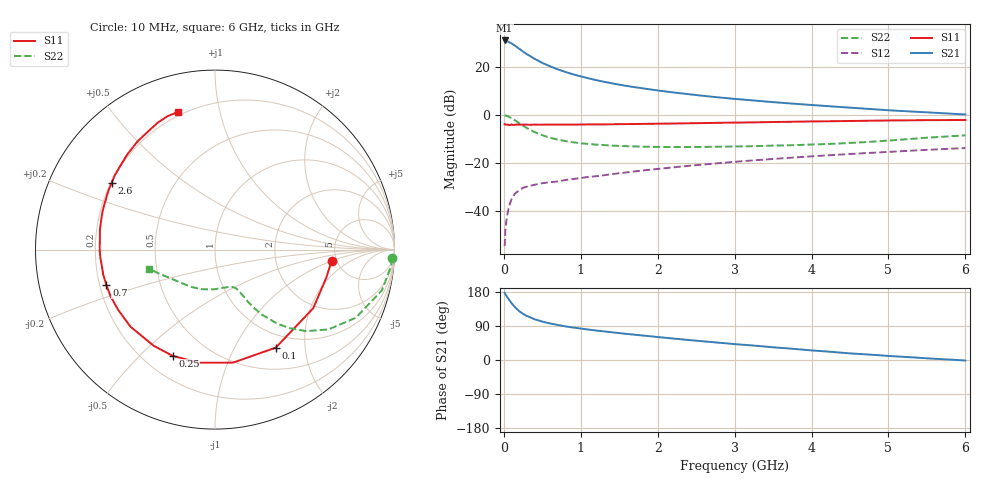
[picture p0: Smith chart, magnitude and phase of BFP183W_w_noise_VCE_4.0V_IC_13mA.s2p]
! Infineon Technologies  Discrete & RF Semiconductors
! BFP183W
! VCE =  4.0 V,  IC =  13 mA
! Common Emitter S-Parameters:  Jan 2017
# GHz  S  MA  R  50
!  f  S11  S21  S12  S22
! GHz  MAG  ANG  MAG  ANG  MAG  ANG  MAG  ANG
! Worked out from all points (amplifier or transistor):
!   77 points, 10 MHz to 6 GHz, reference 50 ohm
!   highest |S21| = 31.0 dB at 10 MHz (marker M1)
!   |S21| within 3 dB of that: start of sweep to 180.2 MHz
!   unconditionally stable (mu >= 1): 1.451 GHz to 3.83 GHz
!   at 130 MHz: K = 0.17, MSG = 31.3 dB, |S12| = -33.4 dB
!   at 2.2 GHz: K = 1.07, MAG = 14.0 dB, |S12| = -21.7 dB
!   at 6 GHz: K = 0.87, MSG = 7.0 dB, |S12| = -13.7 dB
!   lowest NFmin = 1.01 dB at 450 MHz
!   S11 on the Smith chart (normalised r, x): 10 MHz: 4.52, -1.00; 100 MHz: 0.80, -1.48; 250 MHz: 0.32, -0.63; 700 MHz: 0.23, -0.15; 2.6 GHz: 0.20, +0.28; 6 GHz: 0.18, +0.75
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0.01  0.6526 -5.6  35.66 177.5  0.0019 92.4  0.9899 -2.8
0.02  0.6396 -14.0  35.12 173.4  0.004 88.3  0.9842 -5.7
0.05  0.6375 -30.8  34.12 164.1  0.0095 75.8  0.9567 -13.8
0.1  0.6426 -58.2  31.09 149.8  0.018 66.6  0.8719 -25.8
0.15  0.6379 -81.0  27.41 138.3  0.024 58.2  0.7732 -35.1
0.2  0.6369 -98.2  23.92 128.9  0.0274 51.2  0.6817 -41.8
0.25  0.6371 -111.8  20.98 121.5  0.031 46.4  0.6032 -46.5
0.3  0.6355 -122.4  18.46 115.9  0.0328 44.9  0.5382 -50.0
0.4  0.6375 -137.6  14.8 107.4  0.0359 41.7  0.4449 -54.3
0.5  0.6356 -148.0  12.19 101.3  0.0386 40.1  0.3834 -56.5
0.6  0.6374 -155.9  10.36 96.4  0.0405 40.4  0.3407 -57.8
0.7  0.6364 -162.0  8.964 92.5  0.042 41.8  0.31 -58.4
0.9  0.637 -171.5  7.054 85.8  0.0472 43.9  0.2736 -59.8
1.1  0.6421 -178.7  5.826 80.4  0.0522 46.5  0.2528 -60.8
1.3  0.6437 175.3  4.945 75.5  0.0564 48.1  0.2394 -62.8
1.5  0.6506 170.1  4.305 71.0  0.0622 49.8  0.2293 -65.1
2.1  0.6673 156.5  3.116 58.7  0.0794 52.4  0.2182 -75.8
2.6  0.6854 147.2  2.516 49.1  0.0944 52.6  0.2191 -87.6
3.1  0.7036 138.7  2.114 40.4  0.1105 51.6  0.2249 -99.8
4.1  0.7442 124.2  1.587 23.9  0.1429 48.1  0.2485 -125.0
5.1  0.7783 113.3  1.24 9.5  0.1761 43.1  0.3046 -149.8
6  0.7941 105.1  1.034 -1.4  0.2077 37.7  0.381 -163.6
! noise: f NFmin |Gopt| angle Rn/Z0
0.45  1.01  0.12  144  0.1
0.9  1.04  0.19  155  0.09
1.9  1.52  0.38  -172  0.08
2.4  1.75  0.44  -164  0.1
